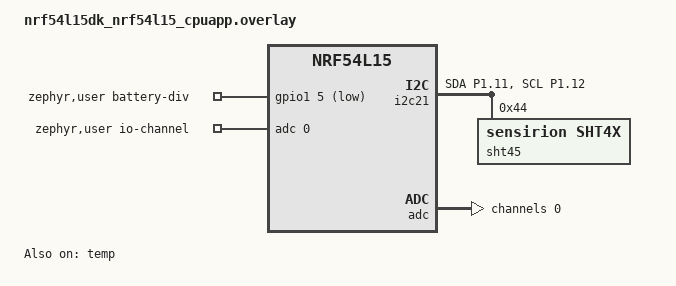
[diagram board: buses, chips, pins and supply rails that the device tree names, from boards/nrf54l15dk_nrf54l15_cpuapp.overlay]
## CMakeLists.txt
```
cmake_minimum_required(VERSION 3.20.0)

find_package(Zephyr HINTS $ENV{ZEPHYR_BASE})

project(soil_zephyr)

target_include_directories(app PRIVATE
    src
)

target_sources(app PRIVATE
    src/main.cpp
)
```

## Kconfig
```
config APP_MEASUREMENT_INTERVAL_SEC
	int "Measurement interval (seconds)"
	default 300
	help
	  Time between periodic measurements. Device sleeps between readings.

source "Kconfig.zephyr"
```

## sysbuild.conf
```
# Internal RRAM only - no external flash
SB_CONFIG_PM_OVERRIDE_EXTERNAL_DRIVER_CHECK=n
SB_CONFIG_PM_EXTERNAL_FLASH_MCUBOOT_SECONDARY=n

# Direct XIP mode - execute from either slot, no swapping needed
SB_CONFIG_MCUBOOT_MODE_DIRECT_XIP_WITH_REVERT=y

# Enable image build for OTA
SB_CONFIG_DFU_MULTI_IMAGE_PACKAGE_BUILD=y
SB_CONFIG_DFU_MULTI_IMAGE_PACKAGE_APP=y
```

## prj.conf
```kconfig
# Soil Sensor - BLE Advertisement Only
# Debug Configuration

# Application features
CONFIG_APP_MEASUREMENT_INTERVAL_SEC=10

# Device name for BLE
CONFIG_BT_DEVICE_NAME="Soil"

# Enable sensors and I2C bus
CONFIG_SENSOR=y
CONFIG_I2C=y
CONFIG_PINCTRL=y

CONFIG_GPIO=y
CONFIG_ADC=y

CONFIG_STD_CPP17=y
CONFIG_THREAD_NAME=y
CONFIG_MPU_STACK_GUARD=y

# GRTC timer for wakeup from System OFF
CONFIG_NRF_GRTC_TIMER=y

# Hardware info for reset cause detection
CONFIG_HWINFO=y

# Power Management
CONFIG_PM=y
CONFIG_PM_DEVICE=y
CONFIG_PM_DEVICE_RUNTIME=y

# System Off (deep sleep)
CONFIG_POWEROFF=y

# Reduce memory footprint
CONFIG_HEAP_MEM_POOL_SIZE=1024
CONFIG_IDLE_STACK_SIZE=256

# Console for debugging
CONFIG_CONSOLE=y
CONFIG_UART_CONSOLE=y

# Configure logging and shell
CONFIG_LOG=y
CONFIG_LOG_MODE_DEFERRED=y
CONFIG_LOG_PROCESS_THREAD_STACK_SIZE=1024
CONFIG_LOG_BUFFER_SIZE=4096
CONFIG_LOG_FUNC_NAME_PREFIX_DBG=n
CONFIG_SHELL=y
CONFIG_SHELL_LOG_BACKEND=y

# Bluetooth
CONFIG_BT=y
CONFIG_BT_PERIPHERAL=y
CONFIG_BT_DEVICE_NAME_DYNAMIC=y
CONFIG_BT_CTLR_TX_PWR_MINUS_8=y

# MCUmgr for BLE DFU (OTA updates)
CONFIG_ZCBOR=y
CONFIG_MCUMGR=y
CONFIG_MCUMGR_GRP_IMG=y
CONFIG_MCUMGR_GRP_OS=y
CONFIG_MCUMGR_TRANSPORT_BT=y
CONFIG_MCUMGR_TRANSPORT_BT_REASSEMBLY=y

# Flash operations for DFU
CONFIG_FLASH=y
CONFIG_IMG_MANAGER=y
CONFIG_STREAM_FLASH=y
CONFIG_FLASH_MAP=y

# Required for MCUboot image management
CONFIG_BOOTLOADER_MCUBOOT=y

# Disable SPI - using internal RRAM only
CONFIG_SPI=n
CONFIG_SPI_NOR=n

# Enable LTO to reduce flash usage
CONFIG_LTO=y
CONFIG_ISR_TABLES_LOCAL_DECLARATION=y
```

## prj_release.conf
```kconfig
# Release Configuration with reduced power consumption

# Application features
CONFIG_APP_MEASUREMENT_INTERVAL_SEC=1200

# Disable logging
CONFIG_LOG=n

# Disable Matter/CHIP logging (0 = OFF)
CONFIG_CHIP_APP_LOG_LEVEL=0

# Disable console/UART console
CONFIG_CONSOLE=n
CONFIG_UART_CONSOLE=n
CONFIG_SERIAL=n

# Disable assertions
CONFIG_ASSERT=n
CONFIG_ASSERT_VERBOSE=n

# Disable debug features
CONFIG_DEBUG=n
CONFIG_USE_SEGGER_RTT=n
CONFIG_SHELL=n
CONFIG_OPENTHREAD_SHELL=n
CONFIG_CONSOLE=n
CONFIG_UART_CONSOLE=n
CONFIG_SERIAL=n
CONFIG_LOG=n
CONFIG_LOG_MODE_MINIMAL=n
CONFIG_ASSERT_VERBOSE=n
CONFIG_ASSERT_NO_FILE_INFO=y
CONFIG_PRINTK=n
CONFIG_PRINTK_SYNC=n
CONFIG_THREAD_NAME=n
CONFIG_BOOT_BANNER=n

# Disable shell
CONFIG_SHELL=n
CONFIG_CHIP_LIB_SHELL=n
```

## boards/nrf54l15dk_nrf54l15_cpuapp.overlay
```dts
/* nRF54L15 DK - Internal RRAM only (no external flash) */

/* I2C for SHT45 humidity/temperature sensor */
&i2c21 {
	status = "okay";
	pinctrl-0 = <&i2c21_default>;
	pinctrl-1 = <&i2c21_sleep>;
	pinctrl-names = "default", "sleep";

	sht45: sht4x@44 {
		compatible = "sensirion,sht4x";
		reg = <0x44>;
		repeatability = <2>;
		status = "okay";
	};
};

&pinctrl {
	i2c21_default: i2c21_default {
		group1 {
			psels = <NRF_PSEL(TWIM_SDA, 1, 11)>, <NRF_PSEL(TWIM_SCL, 1, 12)>;
			bias-pull-up;
		};
	};

	i2c21_sleep: i2c21_sleep {
		group1 {
			psels = <NRF_PSEL(TWIM_SDA, 1, 11)>, <NRF_PSEL(TWIM_SCL, 1, 12)>;
			low-power-enable;
		};
	};
};

/* UART20 enabled for debug builds - release.overlay disables it */

/* Disable unused UARTs */
&uart21 {
	status = "disabled";
};

&uart22 {
	status = "disabled";
};

&uart30 {
	status = "disabled";
};

/* Disable SPI00 and external flash - using internal RRAM */
&spi00 {
	status = "disabled";
};

/* Disable NFC - not needed */
&nfct {
	status = "disabled";
};

/* ADC for battery voltage measurement */
&adc {
	status = "okay";
	#address-cells = <1>;
	#size-cells = <0>;

	/* GAIN_1_2 with 0.9V internal ref gives 0V - 1.8V */
	channel@0 {
		reg = <0>;
		zephyr,gain = "ADC_GAIN_1_2";
		zephyr,reference = "ADC_REF_INTERNAL";
		zephyr,acquisition-time = <ADC_ACQ_TIME_DEFAULT>;
		zephyr,input-positive = <NRF_SAADC_AIN0>; /* P1.4 */
		zephyr,resolution = <12>;
		zephyr,oversampling = <4>;
	};
};

/ {
	zephyr,user {
		io-channels = <&adc 0>;
		battery-div-gpios = <&gpio1 5 GPIO_ACTIVE_LOW>;  /* P1.5 */
	};
};

/* Disable PWM - not needed */
&pwm20 {
	status = "disabled";
};

/* Disable buttons and LEDs - internal pull-ups draw current */
/ {
	buttons {
		status = "disabled";
	};
	leds {
		status = "disabled";
	};
};

/* Restore full RRAM and SRAM space - by default some parts are dedicated to FLPR */
&cpuapp_rram {
	reg = <0x0 DT_SIZE_K(1524)>;
};

&cpuapp_sram {
	reg = <0x20000000 DT_SIZE_K(256)>;
	ranges = <0x0 0x20000000  0x40000>;
};

/* Disable external flash */
&mx25r64 {
	status = "disabled";
};

/* Enable internal temperature sensor */
&temp {
	status = "okay";
};
```

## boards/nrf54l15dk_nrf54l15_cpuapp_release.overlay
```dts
/* Release overlay - disable UART for power savings */
/* UART is controlled via CONFIG_SERIAL=n in prj_release.conf, but we also */
/* disable it in devicetree to ensure the peripheral is fully powered down */

&uart20 {
	status = "disabled";
};

/ {
	chosen {
		/delete-property/ zephyr,console;
		/delete-property/ zephyr,shell-uart;
	};
};
```

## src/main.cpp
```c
#include <stdlib.h>
#include <zephyr/kernel.h>
#include <zephyr/logging/log.h>
#include <zephyr/device.h>
#include <zephyr/devicetree.h>
#include <zephyr/drivers/sensor.h>
#include <zephyr/drivers/adc.h>
#include <zephyr/drivers/gpio.h>
#include <zephyr/bluetooth/bluetooth.h>
#include <zephyr/bluetooth/conn.h>

LOG_MODULE_REGISTER(app, LOG_LEVEL_INF);

/* Internal temperature sensor */
static const struct device *temp_sensor = DEVICE_DT_GET(DT_NODELABEL(temp));

/* ADC for battery voltage */
static const struct adc_dt_spec adc_battery = ADC_DT_SPEC_GET_BY_IDX(DT_PATH(zephyr_user), 0);

/* GPIO to enable battery voltage divider (active low = drive to GND) */
static const struct gpio_dt_spec battery_div_en =
	GPIO_DT_SPEC_GET(DT_PATH(zephyr_user), battery_div_gpios);

/* Battery voltage divider: VBAT -- R1 -- ADC -- R2 -- GPIO */
#define BATTERY_R1_KOHM  470
#define BATTERY_R2_KOHM  220

/* Minimum battery voltage (mV) to perform measurements */
#define BATTERY_MIN_MV  2000

/*
 * BTHome v2 Advertisement Format
 * https://bthome.io/format/
 *
 * Service UUID: 0xFCD2
 * Device Info byte: 0x40 = BTHome v2, no encryption, no trigger
 * Object IDs must be in ascending order:
 *   0x02 = Temperature (sint16, 0.01°C)
 *   0x03 = Humidity (uint16, 0.01%)
 *   0x14 = Moisture (uint16, 0.01%)
 */

#define BTHOME_SERVICE_UUID     0xFCD2
#define BTHOME_DEVICE_INFO      0x40  /* Version 2, no encryption */

#define BTHOME_ID_TEMPERATURE   0x02
#define BTHOME_ID_HUMIDITY      0x03
#define BTHOME_ID_MOISTURE      0x14

/* BTHome service data buffer */
static uint8_t bthome_svc_data[] = {
	/* UUID (little-endian) */
	BTHOME_SERVICE_UUID & 0xFF,
	BTHOME_SERVICE_UUID >> 8,
	/* Device info */
	BTHOME_DEVICE_INFO,
	/* Temperature: ID + sint16 (little-endian) */
	BTHOME_ID_TEMPERATURE, 0x00, 0x00,
	/* Humidity: ID + uint16 (little-endian) */
	BTHOME_ID_HUMIDITY, 0x00, 0x00,
	/* Moisture: ID + uint16 (little-endian) */
	BTHOME_ID_MOISTURE, 0x00, 0x00,
};

/* Offsets into bthome_svc_data for sensor values */
#define TEMP_OFFSET     4   /* After UUID(2) + DevInfo(1) + ID(1) */
#define HUMIDITY_OFFSET 7   /* After temp value(2) + ID(1) */
#define MOISTURE_OFFSET 10  /* After humidity value(2) + ID(1) */

static struct bt_data ad[] = {
	BT_DATA_BYTES(BT_DATA_FLAGS, (BT_LE_AD_GENERAL | BT_LE_AD_NO_BREDR)),
	BT_DATA(BT_DATA_SVC_DATA16, bthome_svc_data, sizeof(bthome_svc_data)),
};

/* Low-power connectable advertising: 10 second interval
 * 0x4000 = 16384 * 0.625ms = 10.24s (max allowed by BLE spec)
 * Uses BT_LE_ADV_OPT_CONN (not deprecated BT_LE_ADV_OPT_CONNECTABLE) */
static struct bt_le_adv_param adv_param = BT_LE_ADV_PARAM_INIT(
	BT_LE_ADV_OPT_CONN,
	0x4000, /* interval min: 10.24s */
	0x4000, /* interval max: 10.24s */
	NULL);

/* Scan response with name and SMP service UUID for OTA */
static const struct bt_data sd[] = {
	BT_DATA(BT_DATA_NAME_COMPLETE, CONFIG_BT_DEVICE_NAME, sizeof(CONFIG_BT_DEVICE_NAME) - 1),
	BT_DATA_BYTES(BT_DATA_UUID128_ALL,
		      /* SMP service UUID: 8d53dc1d-1db7-4cd3-868b-8a527460aa84 */
		      0x84, 0xaa, 0x60, 0x74, 0x52, 0x8a, 0x8b, 0x86,
		      0xd3, 0x4c, 0xb7, 0x1d, 0x1d, 0xdc, 0x53, 0x8d),
};

static struct bt_conn *current_conn;

static void connected(struct bt_conn *conn, uint8_t err)
{
	if (err) {
		LOG_ERR("Connection failed (err %u)", err);
		return;
	}
	LOG_INF("Connected");
	current_conn = bt_conn_ref(conn);
}

static void disconnected(struct bt_conn *conn, uint8_t reason)
{
	LOG_INF("Disconnected (reason %u)", reason);
	if (current_conn) {
		bt_conn_unref(current_conn);
		current_conn = NULL;
	}
}

BT_CONN_CB_DEFINE(conn_callbacks) = {
	.connected = connected,
	.disconnected = disconnected,
};

static void update_bthome_data(int16_t temp_centideg, uint16_t humidity_centipct,
			       uint16_t moisture_centipct)
{
	/* Temperature (sint16, little-endian) */
	bthome_svc_data[TEMP_OFFSET] = temp_centideg & 0xFF;
	bthome_svc_data[TEMP_OFFSET + 1] = (temp_centideg >> 8) & 0xFF;

	/* Humidity (uint16, little-endian) */
	bthome_svc_data[HUMIDITY_OFFSET] = humidity_centipct & 0xFF;
	bthome_svc_data[HUMIDITY_OFFSET + 1] = (humidity_centipct >> 8) & 0xFF;

	/* Moisture (uint16, little-endian) */
	bthome_svc_data[MOISTURE_OFFSET] = moisture_centipct & 0xFF;
	bthome_svc_data[MOISTURE_OFFSET + 1] = (moisture_centipct >> 8) & 0xFF;
}

static int start_advertising(void)
{
	int err = bt_le_adv_start(&adv_param, ad, ARRAY_SIZE(ad), sd, ARRAY_SIZE(sd));
	if (err) {
		LOG_ERR("Advertising failed to start (err %d)", err);
		return err;
	}
	LOG_INF("Advertising started (10s interval)");
	return 0;
}

static int update_advertising(void)
{
	int err = bt_le_adv_update_data(ad, ARRAY_SIZE(ad), sd, ARRAY_SIZE(sd));
	if (err) {
		LOG_ERR("Advertising update failed (err %d)", err);
		return err;
	}
	return 0;
}

/* Read internal temperature sensor, returns centidegrees (0.01°C units) */
static int16_t read_internal_temp(void)
{
	struct sensor_value val;
	int err;

	err = sensor_sample_fetch(temp_sensor);
	if (err) {
		LOG_ERR("Temp fetch failed: %d", err);
		return 0;
	}

	err = sensor_channel_get(temp_sensor, SENSOR_CHAN_DIE_TEMP, &val);
	if (err) {
		LOG_ERR("Temp get failed: %d", err);
		return 0;
	}

	/* Convert to centidegrees: val1 is integer part, val2 is fractional in 1/1000000 */
	return (int16_t)(val.val1 * 100 + val.val2 / 10000);
}

/* Read battery voltage via ADC with GPIO-switched divider, returns mV */
static uint16_t read_battery_voltage(void)
{
	int16_t buf;
	int32_t val_mv;
	int err;

	struct adc_sequence sequence = {
		.buffer = &buf,
		.buffer_size = sizeof(buf),
	};

	/* Enable voltage divider by driving GPIO low */
	gpio_pin_configure_dt(&battery_div_en, GPIO_OUTPUT_ACTIVE);

	/* Small delay for divider to settle */
	k_usleep(50);

	/* Read ADC */
	adc_sequence_init_dt(&adc_battery, &sequence);
	err = adc_read_dt(&adc_battery, &sequence);

	/* Disable divider by setting GPIO to high-Z */
	gpio_pin_configure_dt(&battery_div_en, GPIO_INPUT);

	if (err) {
		LOG_ERR("ADC read failed: %d", err);
		return 0;
	}

	val_mv = buf;
	err = adc_raw_to_millivolts_dt(&adc_battery, &val_mv);
	if (err) {
		LOG_ERR("ADC conversion failed: %d", err);
		return 0;
	}

	/* Scale by divider ratio: Vbat = Vadc * (R1 + R2) / R2 */
	val_mv = val_mv * (BATTERY_R1_KOHM + BATTERY_R2_KOHM) / BATTERY_R2_KOHM;

	return (uint16_t)val_mv;
}

/* Read sensors - uses internal temp, fake data for humidity/moisture */
static void read_sensors(int16_t *temp, uint16_t *humidity, uint16_t *moisture)
{
	/* Read real temperature from internal sensor */
	*temp = read_internal_temp();

	/* Fake data for humidity and moisture until external sensors added */
	static int cycle = 0;
	cycle++;
	*humidity = 5500 + (cycle % 8) * 25;    /* 55.00-56.75% */
	*moisture = 4500 + (cycle % 10) * 50;   /* 45.00-49.50% */
}

int main(void)
{
	int err;
	int16_t temperature;
	uint16_t humidity, moisture, voltage_mv;

	LOG_INF("Soil sensor starting (BTHome v2)...");

	/* Verify temperature sensor is ready */
	if (!device_is_ready(temp_sensor)) {
		LOG_ERR("Temperature sensor not ready");
		return EXIT_FAILURE;
	}
	LOG_INF("Temperature sensor ready");

	/* Initialize ADC for battery voltage */
	if (!adc_is_ready_dt(&adc_battery)) {
		LOG_ERR("ADC not ready");
		return EXIT_FAILURE;
	}
	err = adc_channel_setup_dt(&adc_battery);
	if (err) {
		LOG_ERR("ADC channel setup failed: %d", err);
		return EXIT_FAILURE;
	}
	LOG_INF("ADC ready");

	/* Initialize GPIO for battery divider (start in high-Z / disabled) */
	if (!gpio_is_ready_dt(&battery_div_en)) {
		LOG_ERR("Battery divider GPIO not ready");
		return EXIT_FAILURE;
	}
	gpio_pin_configure_dt(&battery_div_en, GPIO_INPUT);
	LOG_INF("Battery divider GPIO ready");

	/* Initialize Bluetooth */
	err = bt_enable(NULL);
	if (err) {
		LOG_ERR("Bluetooth init failed (err %d)", err);
		return EXIT_FAILURE;
	}
	LOG_INF("Bluetooth initialized");

	/* Initial sensor read */
	read_sensors(&temperature, &humidity, &moisture);
	update_bthome_data(temperature, humidity, moisture);

	/* Start advertising (SMP service is auto-registered) */
	err = start_advertising();
	if (err) {
		return EXIT_FAILURE;
	}

	/* Main loop - periodic sensor reads and advertisement updates */
	while (1) {
		k_sleep(K_SECONDS(CONFIG_APP_MEASUREMENT_INTERVAL_SEC));

		/* Check battery voltage before taking measurements */
		/*
		voltage_mv = read_battery_voltage();
		LOG_DBG("Battery: %d.%03d V", voltage_mv / 1000, voltage_mv % 1000);

		if (voltage_mv < BATTERY_MIN_MV) {
			LOG_WRN("Battery low (%d mV), skipping measurement", voltage_mv);
			continue;
		}
		*/

		read_sensors(&temperature, &humidity, &moisture);
		update_bthome_data(temperature, humidity, moisture);

		LOG_INF("Temp: %d.%02d C, RH: %d.%02d%%, Soil: %d.%02d%%",
			temperature / 100, abs(temperature % 100),
			humidity / 100, humidity % 100,
			moisture / 100, moisture % 100);

		/* Update advertisement if not connected */
		if (!current_conn) {
			update_advertising();
		}
	}

	return EXIT_SUCCESS;
}
```
